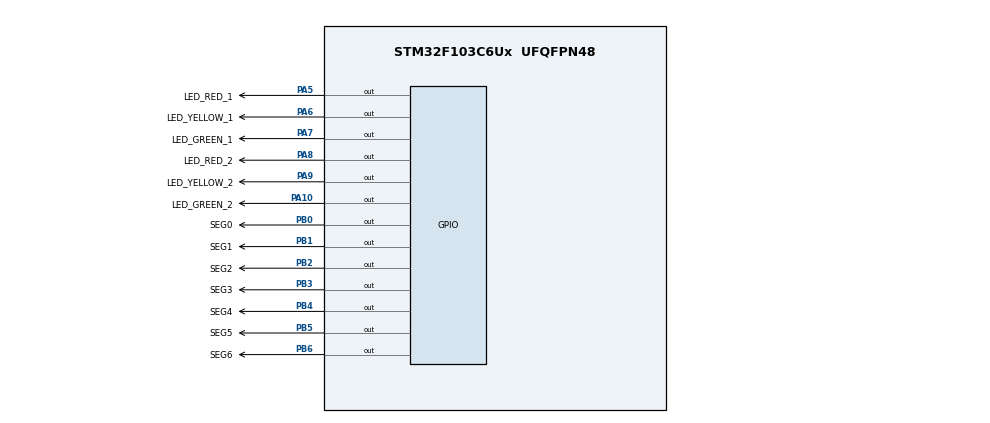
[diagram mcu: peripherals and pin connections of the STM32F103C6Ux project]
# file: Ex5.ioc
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Mcu.Family=STM32F1
Mcu.Name=STM32F103C6Ux
Mcu.Package=UFQFPN48
NVIC.PriorityGroup=NVIC_PRIORITYGROUP_4
PA10.GPIO_Label=LED_GREEN_2
PA10.Signal=GPIO_Output
PA5.GPIO_Label=LED_RED_1
PA5.Signal=GPIO_Output
PA6.GPIO_Label=LED_YELLOW_1
PA6.Signal=GPIO_Output
PA7.GPIO_Label=LED_GREEN_1
PA7.Signal=GPIO_Output
PA8.GPIO_Label=LED_RED_2
PA8.Signal=GPIO_Output
PA9.GPIO_Label=LED_YELLOW_2
PA9.Signal=GPIO_Output
PB0.GPIO_Label=SEG0
PB0.Signal=GPIO_Output
PB1.GPIO_Label=SEG1
PB1.Signal=GPIO_Output
PB2.GPIO_Label=SEG2
PB2.Signal=GPIO_Output
PB3.GPIO_Label=SEG3
PB3.Signal=GPIO_Output
PB4.GPIO_Label=SEG4
PB4.Signal=GPIO_Output
PB5.GPIO_Label=SEG5
PB5.Signal=GPIO_Output
PB6.GPIO_Label=SEG6
PB6.Signal=GPIO_Output
ProjectManager.HeapSize=0x200
ProjectManager.StackSize=0x400
ProjectManager.TargetToolchain=STM32CubeIDE
RCC.APB1Freq_Value=8000000
RCC.APB2Freq_Value=8000000
VP_SYS_VS_ND.Mode=No_Debug
board=custom

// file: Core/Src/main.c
/* USER CODE BEGIN Header */
/**
  ******************************************************************************
  * @file           : main.c
  * @brief          : Main program body
  ******************************************************************************
  * @attention
  *
  * <h2><center>&copy; Copyright (c) 2023 STMicroelectronics.
  * All rights reserved.</center></h2>
  *
  * This software component is licensed by ST under BSD 3-Clause license,
  * the "License"; You may not use this file except in compliance with the
  * License. You may obtain a copy of the License at:
  *                        opensource.org/licenses/BSD-3-Clause
  *
  ******************************************************************************
  */
/* USER CODE END Header */
#include "main.h"

void SystemClock_Config(void);
static void MX_GPIO_Init(void);

/* USER CODE BEGIN 0 */
void display7SEG(int counter){
	switch(counter){
	 case 0 : {
		HAL_GPIO_WritePin(SEG0_GPIO_Port, SEG0_Pin, 0);
		HAL_GPIO_WritePin(SEG1_GPIO_Port, SEG1_Pin, 0);
		HAL_GPIO_WritePin(SEG2_GPIO_Port, SEG2_Pin, 0);
		HAL_GPIO_WritePin(SEG3_GPIO_Port, SEG3_Pin, 0);
		HAL_GPIO_WritePin(SEG4_GPIO_Port, SEG4_Pin, 0);
		HAL_GPIO_WritePin(SEG5_GPIO_Port, SEG5_Pin, 0);
		HAL_GPIO_WritePin(SEG6_GPIO_Port, SEG6_Pin, 1);
		break;
	 }
	 case 1 : {
		 HAL_GPIO_WritePin(SEG0_GPIO_Port, SEG0_Pin, 1);
		 HAL_GPIO_WritePin(SEG1_GPIO_Port, SEG1_Pin, 0);
		 HAL_GPIO_WritePin(SEG2_GPIO_Port, SEG2_Pin, 0);
		 HAL_GPIO_WritePin(SEG3_GPIO_Port, SEG3_Pin, 1);
		 HAL_GPIO_WritePin(SEG4_GPIO_Port, SEG4_Pin, 1);
		 HAL_GPIO_WritePin(SEG5_GPIO_Port, SEG5_Pin, 1);
		 HAL_GPIO_WritePin(SEG6_GPIO_Port, SEG6_Pin, 1);
		 break;
	 }
	 case 2 : {
		 HAL_GPIO_WritePin(SEG0_GPIO_Port, SEG0_Pin, 0);
		 HAL_GPIO_WritePin(SEG1_GPIO_Port, SEG1_Pin, 0);
		 HAL_GPIO_WritePin(SEG2_GPIO_Port, SEG2_Pin, 1);
		 HAL_GPIO_WritePin(SEG3_GPIO_Port, SEG3_Pin, 0);
		 HAL_GPIO_WritePin(SEG4_GPIO_Port, SEG4_Pin, 0);
		 HAL_GPIO_WritePin(SEG5_GPIO_Port, SEG5_Pin, 1);
		 HAL_GPIO_WritePin(SEG6_GPIO_Port, SEG6_Pin, 0);
		 break;
	 }
	 case 3 : {
		 HAL_GPIO_WritePin(SEG0_GPIO_Port, SEG0_Pin, 0);
		 HAL_GPIO_WritePin(SEG1_GPIO_Port, SEG1_Pin, 0);
		 HAL_GPIO_WritePin(SEG2_GPIO_Port, SEG2_Pin, 0);
		 HAL_GPIO_WritePin(SEG3_GPIO_Port, SEG3_Pin, 0);
		 HAL_GPIO_WritePin(SEG4_GPIO_Port, SEG4_Pin, 1);
		 HAL_GPIO_WritePin(SEG5_GPIO_Port, SEG5_Pin, 1);
		 HAL_GPIO_WritePin(SEG6_GPIO_Port, SEG6_Pin, 0);
		 break;
	 }
	 case 4 : {
		 HAL_GPIO_WritePin(SEG0_GPIO_Port, SEG0_Pin, 1);
		 HAL_GPIO_WritePin(SEG1_GPIO_Port, SEG1_Pin, 0);
		 HAL_GPIO_WritePin(SEG2_GPIO_Port, SEG2_Pin, 0);
		 HAL_GPIO_WritePin(SEG3_GPIO_Port, SEG3_Pin, 1);
		 HAL_GPIO_WritePin(SEG4_GPIO_Port, SEG4_Pin, 1);
		 HAL_GPIO_WritePin(SEG5_GPIO_Port, SEG5_Pin, 0);
		 HAL_GPIO_WritePin(SEG6_GPIO_Port, SEG6_Pin, 0);
		 break;
	 }
	 case 5 : {
		 HAL_GPIO_WritePin(SEG0_GPIO_Port, SEG0_Pin, 0);
		 HAL_GPIO_WritePin(SEG1_GPIO_Port, SEG1_Pin, 1);
		 HAL_GPIO_WritePin(SEG2_GPIO_Port, SEG2_Pin, 0);
		 HAL_GPIO_WritePin(SEG3_GPIO_Port, SEG3_Pin, 0);
		 HAL_GPIO_WritePin(SEG4_GPIO_Port, SEG4_Pin, 1);
		 HAL_GPIO_WritePin(SEG5_GPIO_Port, SEG5_Pin, 0);
		 HAL_GPIO_WritePin(SEG6_GPIO_Port, SEG6_Pin, 0);
		 break;
	 }
	 case 6 : {
		 HAL_GPIO_WritePin(SEG0_GPIO_Port, SEG0_Pin, 0);
		 HAL_GPIO_WritePin(SEG1_GPIO_Port, SEG1_Pin, 1);
		 HAL_GPIO_WritePin(SEG2_GPIO_Port, SEG2_Pin, 0);
		 HAL_GPIO_WritePin(SEG3_GPIO_Port, SEG3_Pin, 0);
		 HAL_GPIO_WritePin(SEG4_GPIO_Port, SEG4_Pin, 0);
		 HAL_GPIO_WritePin(SEG5_GPIO_Port, SEG5_Pin, 0);
		 HAL_GPIO_WritePin(SEG6_GPIO_Port, SEG6_Pin, 0);
		 break;
	 }
	 case 7 : {
		 HAL_GPIO_WritePin(SEG0_GPIO_Port, SEG0_Pin, 0);
		 HAL_GPIO_WritePin(SEG1_GPIO_Port, SEG1_Pin, 0);
		 HAL_GPIO_WritePin(SEG2_GPIO_Port, SEG2_Pin, 0);
		 HAL_GPIO_WritePin(SEG3_GPIO_Port, SEG3_Pin, 1);
		 HAL_GPIO_WritePin(SEG4_GPIO_Port, SEG4_Pin, 1);
		 HAL_GPIO_WritePin(SEG5_GPIO_Port, SEG5_Pin, 1);
		 HAL_GPIO_WritePin(SEG6_GPIO_Port, SEG6_Pin, 1);
		 break;
	 }
	 case 8 : {
		 HAL_GPIO_WritePin(SEG0_GPIO_Port, SEG0_Pin, 0);
		 HAL_GPIO_WritePin(SEG1_GPIO_Port, SEG1_Pin, 0);
		 HAL_GPIO_WritePin(SEG2_GPIO_Port, SEG2_Pin, 0);
		 HAL_GPIO_WritePin(SEG3_GPIO_Port, SEG3_Pin, 0);
		 HAL_GPIO_WritePin(SEG4_GPIO_Port, SEG4_Pin, 0);
		 HAL_GPIO_WritePin(SEG5_GPIO_Port, SEG5_Pin, 0);
		 HAL_GPIO_WritePin(SEG6_GPIO_Port, SEG6_Pin, 0);
		 break;
	 }
	 case 9 : {
		 HAL_GPIO_WritePin(SEG0_GPIO_Port, SEG0_Pin, 0);
		 HAL_GPIO_WritePin(SEG1_GPIO_Port, SEG1_Pin, 0);
		 HAL_GPIO_WritePin(SEG2_GPIO_Port, SEG2_Pin, 0);
		 HAL_GPIO_WritePin(SEG3_GPIO_Port, SEG3_Pin, 0);
		 HAL_GPIO_WritePin(SEG4_GPIO_Port, SEG4_Pin, 1);
		 HAL_GPIO_WritePin(SEG5_GPIO_Port, SEG5_Pin, 0);
		 HAL_GPIO_WritePin(SEG6_GPIO_Port, SEG6_Pin, 0);
		 break;
	 }
	 default : {
		 HAL_GPIO_WritePin(SEG0_GPIO_Port, SEG0_Pin, 1);
		 HAL_GPIO_WritePin(SEG1_GPIO_Port, SEG1_Pin, 1);
		 HAL_GPIO_WritePin(SEG2_GPIO_Port, SEG2_Pin, 1);
		 HAL_GPIO_WritePin(SEG3_GPIO_Port, SEG3_Pin, 1);
		 HAL_GPIO_WritePin(SEG4_GPIO_Port, SEG4_Pin, 1);
		 HAL_GPIO_WritePin(SEG5_GPIO_Port, SEG5_Pin, 1);
		 HAL_GPIO_WritePin(SEG6_GPIO_Port, SEG6_Pin, 1);
		 break;
	 }
	}
}
/* USER CODE END 0 */

int main(void)
{

  /* MCU Configuration--------------------------------------------------------*/

  /* Reset of all peripherals, Initializes the Flash interface and the Systick. */
  HAL_Init();

  /* Configure the system clock */
  SystemClock_Config();

  /* Initialize all configured peripherals */
  MX_GPIO_Init();
  /* USER CODE BEGIN 2 */
  	 int statusOfLed = 0;
  	 int countdownLED = 0; // counter
  /* USER CODE END 2 */

  /* Infinite loop */
  /* USER CODE BEGIN WHILE */
  while (1)
  {
	  if(statusOfLed == 0){
		  HAL_GPIO_WritePin(LED_RED_1_GPIO_Port,LED_RED_1_Pin, 0);
		  HAL_GPIO_WritePin(LED_YELLOW_1_GPIO_Port, LED_YELLOW_1_Pin, 1);
		  HAL_GPIO_WritePin(LED_GREEN_1_GPIO_Port, LED_GREEN_1_Pin, 1);
		  countdownLED = 5;
		  HAL_GPIO_WritePin(LED_RED_2_GPIO_Port,LED_RED_2_Pin, 1);
		  HAL_GPIO_WritePin(LED_YELLOW_2_GPIO_Port, LED_YELLOW_2_Pin, 1);
		  HAL_GPIO_WritePin(LED_GREEN_2_GPIO_Port, LED_GREEN_2_Pin, 0);
	  }
	  else if (statusOfLed == 3){
		  HAL_GPIO_WritePin(LED_RED_2_GPIO_Port, LED_RED_2_Pin, 1);
		  HAL_GPIO_WritePin(LED_YELLOW_2_GPIO_Port, LED_YELLOW_2_Pin,0);
		  HAL_GPIO_WritePin(LED_GREEN_2_GPIO_Port,LED_GREEN_2_Pin,1);
	  }
	  else if(statusOfLed == 5){
		  HAL_GPIO_WritePin(LED_RED_2_GPIO_Port,LED_RED_2_Pin, 0);
		  HAL_GPIO_WritePin(LED_YELLOW_2_GPIO_Port, LED_YELLOW_2_Pin, 1);
		  HAL_GPIO_WritePin(LED_GREEN_2_GPIO_Port, LED_GREEN_2_Pin, 1);

		  HAL_GPIO_WritePin(LED_RED_1_GPIO_Port,LED_RED_1_Pin, 1);
		  HAL_GPIO_WritePin(LED_YELLOW_1_GPIO_Port, LED_YELLOW_1_Pin, 1);
		  HAL_GPIO_WritePin(LED_GREEN_1_GPIO_Port, LED_GREEN_1_Pin, 0);
		  countdownLED = 3;
	  }
	  else if (statusOfLed == 8){
		  HAL_GPIO_WritePin(LED_RED_1_GPIO_Port, LED_RED_1_Pin, 1);
		  HAL_GPIO_WritePin(LED_YELLOW_1_GPIO_Port, LED_YELLOW_1_Pin,0);
		  HAL_GPIO_WritePin(LED_GREEN_1_GPIO_Port,LED_GREEN_1_Pin,1);
	  }
	  else if (statusOfLed >= 10){
		  statusOfLed = 0;
		  continue;
	  }
	  statusOfLed++;
	  display7SEG(countdownLED--);
	  HAL_Delay(1000);
    /* USER CODE END WHILE */

  }
}

void SystemClock_Config(void)
{
  RCC_OscInitTypeDef RCC_OscInitStruct = {0};
  RCC_ClkInitTypeDef RCC_ClkInitStruct = {0};

  /** Initializes the RCC Oscillators according to the specified parameters
  * in the RCC_OscInitTypeDef structure.
  */
  RCC_OscInitStruct.OscillatorType = RCC_OSCILLATORTYPE_HSI;
  RCC_OscInitStruct.HSIState = RCC_HSI_ON;
  RCC_OscInitStruct.HSICalibrationValue = RCC_HSICALIBRATION_DEFAULT;
  RCC_OscInitStruct.PLL.PLLState = RCC_PLL_NONE;
  if (HAL_RCC_OscConfig(&RCC_OscInitStruct) != HAL_OK)
  {
    Error_Handler();
  }
  /** Initializes the CPU, AHB and APB buses clocks
  */
  RCC_ClkInitStruct.ClockType = RCC_CLOCKTYPE_HCLK|RCC_CLOCKTYPE_SYSCLK
                              |RCC_CLOCKTYPE_PCLK1|RCC_CLOCKTYPE_PCLK2;
  RCC_ClkInitStruct.SYSCLKSource = RCC_SYSCLKSOURCE_HSI;
  RCC_ClkInitStruct.AHBCLKDivider = RCC_SYSCLK_DIV1;
  RCC_ClkInitStruct.APB1CLKDivider = RCC_HCLK_DIV1;
  RCC_ClkInitStruct.APB2CLKDivider = RCC_HCLK_DIV1;

  if (HAL_RCC_ClockConfig(&RCC_ClkInitStruct, FLASH_LATENCY_0) != HAL_OK)
  {
    Error_Handler();
  }
}

static void MX_GPIO_Init(void)
{
  GPIO_InitTypeDef GPIO_InitStruct = {0};

  /* GPIO Ports Clock Enable */
  __HAL_RCC_GPIOA_CLK_ENABLE();
  __HAL_RCC_GPIOB_CLK_ENABLE();

  /*Configure GPIO pin Output Level */
  HAL_GPIO_WritePin(GPIOA, LED_RED_1_Pin|LED_YELLOW_1_Pin|LED_GREEN_1_Pin|LED_RED_2_Pin
                          |LED_YELLOW_2_Pin|LED_GREEN_2_Pin, GPIO_PIN_RESET);

  /*Configure GPIO pin Output Level */
  HAL_GPIO_WritePin(GPIOB, SEG0_Pin|SEG1_Pin|SEG2_Pin|SEG3_Pin
                          |SEG4_Pin|SEG5_Pin|SEG6_Pin, GPIO_PIN_RESET);

  /*Configure GPIO pins : LED_RED_1_Pin LED_YELLOW_1_Pin LED_GREEN_1_Pin LED_RED_2_Pin
                           LED_YELLOW_2_Pin LED_GREEN_2_Pin */
  GPIO_InitStruct.Pin = LED_RED_1_Pin|LED_YELLOW_1_Pin|LED_GREEN_1_Pin|LED_RED_2_Pin
                          |LED_YELLOW_2_Pin|LED_GREEN_2_Pin;
  GPIO_InitStruct.Mode = GPIO_MODE_OUTPUT_PP;
  GPIO_InitStruct.Pull = GPIO_NOPULL;
  GPIO_InitStruct.Speed = GPIO_SPEED_FREQ_LOW;
  HAL_GPIO_Init(GPIOA, &GPIO_InitStruct);

  /*Configure GPIO pins : SEG0_Pin SEG1_Pin SEG2_Pin SEG3_Pin
                           SEG4_Pin SEG5_Pin SEG6_Pin */
  GPIO_InitStruct.Pin = SEG0_Pin|SEG1_Pin|SEG2_Pin|SEG3_Pin
                          |SEG4_Pin|SEG5_Pin|SEG6_Pin;
  GPIO_InitStruct.Mode = GPIO_MODE_OUTPUT_PP;
  GPIO_InitStruct.Pull = GPIO_NOPULL;
  GPIO_InitStruct.Speed = GPIO_SPEED_FREQ_LOW;
  HAL_GPIO_Init(GPIOB, &GPIO_InitStruct);

}

void Error_Handler(void)
{
  __disable_irq();
  while (1)
  {
  }
}

/************************ (C) COPYRIGHT STMicroelectronics *****END OF FILE****/
